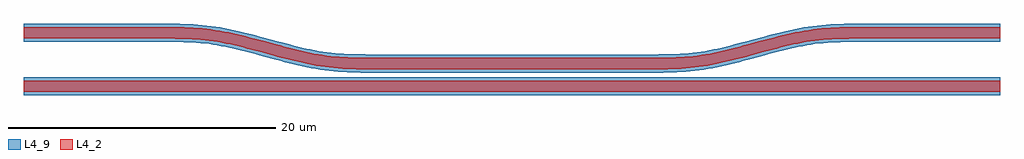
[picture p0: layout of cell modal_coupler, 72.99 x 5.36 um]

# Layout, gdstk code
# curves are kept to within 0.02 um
import gdstk
lib = gdstk.Library(unit=1e-6, precision=5e-09)
def R(c, l, rs):  # rectangles x0, y0, x1, y1
    for r in rs: c.add(gdstk.rectangle(r[:2], r[2:], *l))
def P(c, l, *ps):  # polygons
    for p in ps: c.add(gdstk.Polygon(p, *l))
L4_2 = (4, 2)
L4_9 = (4, 9)

directional_coupler_wg1a = lib.new_cell('Directional_coupler_wg1a')
R(directional_coupler_wg1a, L4_2, [(-10,-1.275,0,-0.425)])
P(directional_coupler_wg1a, L4_9, [(-10,-1.525),(0,-1.525),(0,-1.275),(0,-0.425),(0,-0.175),(-10,-0.175),(-10,-0.425),(-10,-1.275)])

directional_coupler_wg2a = lib.new_cell('Directional_coupler_wg2a')
R(directional_coupler_wg2a, L4_2, [(-10,0.425,0,1.275)])
P(directional_coupler_wg2a, L4_9, [(-10,0.175),(0,0.175),(0,0.425),(0,1.275),(0,1.525),(-10,1.525),(-10,1.275),(-10,0.425)])

directional_coupler_wg1b = lib.new_cell('Directional_coupler_wg1b')
R(directional_coupler_wg1b, L4_2, [(0,-1.275,10,-0.425)])
P(directional_coupler_wg1b, L4_9, [(0,-1.525),(10,-1.525),(10,-1.275),(10,-0.425),(10,-0.175),(0,-0.175),(0,-0.425),(0,-1.275)])

directional_coupler_wg2b = lib.new_cell('Directional_coupler_wg2b')
R(directional_coupler_wg2b, L4_2, [(0,0.425,10,1.275)])
P(directional_coupler_wg2b, L4_9, [(0,0.175),(10,0.175),(10,0.425),(10,1.275),(10,1.525),(0,1.525),(0,1.275),(0,0.425)])

directional_coupler = lib.new_cell('Directional_coupler')
directional_coupler.add(gdstk.Reference(directional_coupler_wg1a, (0,0)))
directional_coupler.add(gdstk.Reference(directional_coupler_wg2a, (0,0)))
directional_coupler.add(gdstk.Reference(directional_coupler_wg1b, (0,0)))
directional_coupler.add(gdstk.Reference(directional_coupler_wg2b, (0,0)))

modal_coupler_wg_in1 = lib.new_cell('modal_coupler_wg_in1')
R(modal_coupler_wg_in1, L4_2, [(-36.495,-1.275,-10,-0.425)])
P(modal_coupler_wg_in1, L4_9, [(-10,-0.175),(-36.495,-0.175),(-36.495,-0.425),(-36.495,-1.275),(-36.495,-1.525),(-10,-1.525),(-10,-1.275),(-10,-0.425)])

modal_coupler_wg_in2 = lib.new_cell('modal_coupler_wg_in2')
P(modal_coupler_wg_in2, L4_2, [(-10,1.275),(-11.63,1.285),(-12.595,1.325),(-13.555,1.405),(-14.505,1.54),(-15.45,1.725),(-16.39,1.95),(-20.54,3.035),(-22.18,3.355),(-23.515,3.505),(-24.845,3.565),(-26.165,3.58),(-36.495,3.58),(-36.495,2.73),(-25.515,2.725),(-23.9,2.68),(-22.94,2.6),(-21.99,2.465),(-20.73,2.205),(-15.63,0.895),(-14.645,0.7),(-13.315,0.525),(-11.98,0.445),(-10,0.425)])
P(modal_coupler_wg_in2, L4_9, [(-10,1.525),(-11.625,1.535),(-12.58,1.575),(-13.215,1.62),(-14.46,1.785),(-16.02,2.115),(-19.19,2.955),(-20.81,3.35),(-22.14,3.605),(-23.495,3.755),(-24.84,3.815),(-26.165,3.83),(-36.495,3.83),(-36.495,2.48),(-26.17,2.48),(-24.87,2.465),(-23.595,2.41),(-22.655,2.315),(-21.41,2.1),(-20.165,1.81),(-16.985,0.965),(-15.685,0.65),(-14.355,0.4),(-13.335,0.275),(-11.99,0.195),(-10,0.175)])

modal_coupler_wg_out1 = lib.new_cell('modal_coupler_wg_out1')
R(modal_coupler_wg_out1, L4_2, [(10,-1.275,36.495,-0.425)])
P(modal_coupler_wg_out1, L4_9, [(10,-1.525),(36.495,-1.525),(36.495,-1.275),(36.495,-0.425),(36.495,-0.175),(10,-0.175),(10,-0.425),(10,-1.275)])

modal_coupler_wg_out2 = lib.new_cell('modal_coupler_wg_out2')
P(modal_coupler_wg_out2, L4_2, [(10,0.425),(12.645,0.475),(13.65,0.56),(14.645,0.7),(16.28,1.045),(20.73,2.205),(21.99,2.465),(23.26,2.63),(24.22,2.695),(26.17,2.73),(36.495,2.73),(36.495,3.58),(25.51,3.575),(24.18,3.545),(22.845,3.445),(21.85,3.3),(20.54,3.035),(16.39,1.95),(15.45,1.725),(14.505,1.54),(13.555,1.405),(12.595,1.325),(11.63,1.285),(10,1.275)])
P(modal_coupler_wg_out2, L4_9, [(10,0.175),(12.66,0.225),(13.675,0.31),(14.69,0.455),(16.34,0.805),(21.1,2.035),(22.345,2.27),(23.595,2.41),(24.87,2.465),(26.17,2.48),(36.495,2.48),(36.495,3.83),(24.84,3.815),(23.495,3.755),(22.14,3.605),(20.155,3.2),(16.02,2.115),(14.46,1.785),(13.215,1.62),(12.58,1.575),(11.625,1.535),(10,1.525)])

modal_coupler = lib.new_cell('modal_coupler')
modal_coupler.add(gdstk.Reference(directional_coupler, (0,0)))
modal_coupler.add(gdstk.Reference(modal_coupler_wg_in1, (0,0)))
modal_coupler.add(gdstk.Reference(modal_coupler_wg_in2, (0,0)))
modal_coupler.add(gdstk.Reference(modal_coupler_wg_out1, (0,0)))
modal_coupler.add(gdstk.Reference(modal_coupler_wg_out2, (0,0)))

lib.write_gds('modal_coupler.gds')
